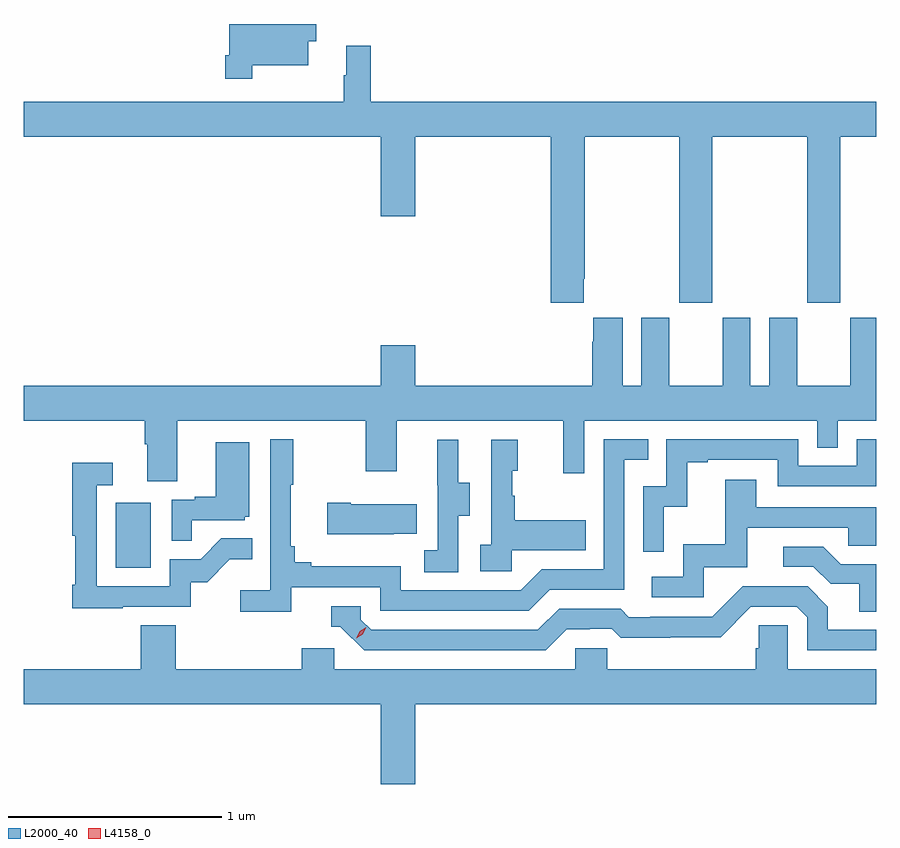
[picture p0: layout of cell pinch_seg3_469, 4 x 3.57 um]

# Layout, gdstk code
import gdstk
lib = gdstk.Library(unit=1e-6, precision=1e-09)
def R(c, l, rs):  # rectangles x0, y0, x1, y1
    for r in rs: c.add(gdstk.rectangle(r[:2], r[2:], *l))
def P(c, l, *ps):  # polygons
    for p in ps: c.add(gdstk.Polygon(p, *l))
L2000_40 = (2000, 40)
L4158_0 = (4158, 0)

pinch_seg3_469 = lib.new_cell('pinch_seg3_469')
R(pinch_seg3_469, L2000_40, [(895.034,680.244,895.198,680.551)])
P(pinch_seg3_469, L2000_40, [(895.675,682.604),(895.936,682.604),(895.936,682.715),(895.975,682.715),(895.975,682.797),(895.566,682.797),(895.566,682.651),(895.546,682.651),(895.546,682.539),(895.675,682.539)],
  [(897.229,681.601),(897.234,681.601),(897.234,682.268),(897.679,682.268),(897.679,681.489),(897.834,681.489),(897.834,682.268),(898.279,682.268),(898.279,681.489),(898.434,681.489),(898.434,682.268),(898.602,682.268),(898.602,682.432),(896.231,682.432),(896.231,682.696),(896.114,682.696),(896.114,682.556),(896.103,682.556),(896.103,682.432),(894.602,682.432),(894.602,682.268),(896.276,682.268),(896.276,681.894),(896.44,681.894),(896.44,682.268),(897.074,682.268),(897.074,681.489),(897.229,681.489)],
  [(895.321,680.936),(896.206,680.936),(896.206,680.697),(896.353,680.697),(896.353,680.936),(897.134,680.936),(897.134,680.688),(897.231,680.688),(897.231,680.936),(898.326,680.936),(898.326,680.809),(898.422,680.809),(898.422,680.936),(898.602,680.936),(898.602,681.418),(898.481,681.418),(898.481,681.1),(898.231,681.1),(898.231,681.418),(898.1,681.418),(898.1,681.1),(898.012,681.1),(898.012,681.418),(897.881,681.418),(897.881,681.1),(897.631,681.1),(897.631,681.418),(897.5,681.418),(897.5,681.1),(897.412,681.1),(897.412,681.418),(897.275,681.418),(897.275,681.305),(897.269,681.305),(897.269,681.1),(896.44,681.1),(896.44,681.289),(896.276,681.289),(896.276,681.1),(894.602,681.1),(894.602,680.936),(895.169,680.936),(895.169,680.824),(895.181,680.824),(895.181,680.65),(895.321,680.65)],
  [(895.856,680.154),(896.274,680.154),(896.274,680.043),(896.971,680.043),(897.07,680.142),(897.42,680.142),(897.42,680.751),(897.533,680.751),(897.533,680.847),(897.324,680.847),(897.324,680.238),(897.033,680.238),(896.934,680.139),(896.37,680.139),(896.37,680.251),(895.951,680.251),(895.951,680.27),(895.874,680.27),(895.874,680.347),(895.855,680.347),(895.855,680.635),(895.867,680.635),(895.867,680.848),(895.758,680.848),(895.758,680.14),(895.617,680.14),(895.617,680.038),(895.856,680.038)],
  [(897.606,680.531),(897.716,680.531),(897.716,680.739),(897.811,680.739),(897.811,680.751),(898.14,680.751),(898.14,680.628),(898.602,680.628),(898.602,680.847),(898.512,680.847),(898.512,680.724),(898.236,680.724),(898.236,680.847),(897.618,680.847),(897.618,680.628),(897.51,680.628),(897.51,680.319),(897.606,680.319)],
  [(896.64,680.488),(896.695,680.488),(896.695,680.643),(896.641,680.643),(896.641,680.845),(896.543,680.845),(896.543,680.631),(896.544,680.631),(896.544,680.327),(896.481,680.327),(896.481,680.224),(896.64,680.224)],
  [(896.892,680.327),(897.239,680.327),(897.239,680.467),(896.905,680.467),(896.905,680.582),(896.895,680.582),(896.895,680.7),(896.92,680.7),(896.92,680.845),(896.796,680.845),(896.796,680.354),(896.745,680.354),(896.745,680.229),(896.892,680.229)],
  [(895.391,680.469),(895.638,680.469),(895.638,680.484),(895.66,680.484),(895.66,680.833),(895.502,680.833),(895.502,680.578),(895.403,680.578),(895.403,680.565),(895.296,680.565),(895.296,680.371),(895.391,680.371)],
  [(895.067,680.061),(895.386,680.061),(895.386,680.178),(895.462,680.178),(895.569,680.285),(895.673,680.285),(895.673,680.384),(895.529,680.384),(895.431,680.286),(895.287,680.286),(895.287,680.157),(894.945,680.157),(894.945,680.631),(895.018,680.631),(895.018,680.737),(894.829,680.737),(894.829,680.394),(894.844,680.394),(894.844,680.164),(894.829,680.164),(894.829,680.056),(895.067,680.056)],
  [(897.792,680.247),(897.997,680.247),(897.997,680.433),(898.471,680.433),(898.471,680.349),(898.602,680.349),(898.602,680.529),(898.039,680.529),(898.039,680.659),(897.895,680.659),(897.895,680.356),(897.696,680.356),(897.696,680.202),(897.549,680.202),(897.549,680.106),(897.792,680.106)],
  [(896.339,680.405),(896.447,680.405),(896.447,680.542),(896.137,680.542),(896.137,680.55),(896.025,680.55),(896.025,680.402),(896.339,680.402)],
  [(898.602,680.262),(898.435,680.262),(898.354,680.343),(898.167,680.343),(898.167,680.25),(898.308,680.25),(898.388,680.17),(898.523,680.17),(898.523,680.038),(898.602,680.038)],
  [(897.151,679.956),(897.258,679.956),(897.258,679.959),(897.361,679.959),(897.403,679.917),(897.636,679.917),(897.636,679.919),(897.872,679.919),(898.014,680.061),(898.23,680.061),(898.278,680.013),(898.278,679.857),(898.602,679.857),(898.602,679.953),(898.375,679.953),(898.375,680.063),(898.281,680.157),(897.975,680.157),(897.834,680.016),(897.541,680.016),(897.541,680.013),(897.442,680.013),(897.403,680.052),(897.114,680.052),(897.015,679.953),(896.232,679.953),(896.184,680.001),(896.184,680.064),(896.045,680.064),(896.045,679.968),(896.088,679.968),(896.199,679.857),(897.052,679.857)],
  [(896.44,679.604),(898.602,679.604),(898.602,679.768),(898.188,679.768),(898.188,679.976),(898.051,679.976),(898.051,679.866),(898.037,679.866),(898.037,679.768),(897.339,679.768),(897.339,679.866),(897.189,679.866),(897.189,679.768),(896.058,679.768),(896.058,679.866),(895.907,679.866),(895.907,679.768),(895.316,679.768),(895.316,679.976),(895.151,679.976),(895.151,679.768),(894.602,679.768),(894.602,679.604),(896.276,679.604),(896.276,679.23),(896.44,679.23)])
P(pinch_seg3_469, L4158_0, [(896.162,679.914),(896.162,679.914),(896.179,679.946),(896.209,679.966),(896.21,679.966),(896.21,679.965),(896.193,679.933),(896.163,679.914)])

lib.write_gds('pinch_seg3_469.gds')
